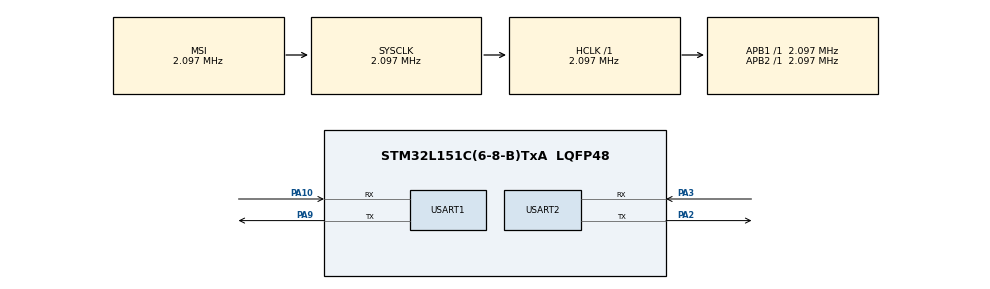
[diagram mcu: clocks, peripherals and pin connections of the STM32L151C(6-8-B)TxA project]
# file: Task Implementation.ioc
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FREERTOS.Tasks01=defaultTask,24,128,StartDefaultTask,Default,NULL,Dynamic,NULL,NULL
FREERTOS.configUSE_NEWLIB_REENTRANT=1
Mcu.Family=STM32L1
Mcu.Name=STM32L151C(6-8-B)TxA
Mcu.Package=LQFP48
NVIC.PriorityGroup=NVIC_PRIORITYGROUP_4
NVIC.TIM4_IRQn=true\:15\:0\:false\:false\:true\:false\:false\:true\:true
NVIC.TimeBase=TIM4_IRQn
NVIC.TimeBaseIP=TIM4
PA10.Mode=Asynchronous
PA10.Signal=USART1_RX
PA2.Mode=Asynchronous
PA2.Signal=USART2_TX
PA3.Mode=Asynchronous
PA3.Signal=USART2_RX
PA9.Mode=Asynchronous
PA9.Signal=USART1_TX
PB13.GPIO_Label=SNR_SCLK
PB13.Signal=SPI2_SCK
PB14.GPIO_Label=SNR_MISO
PB14.Signal=SPI2_MISO
PH0-OSC_IN.Mode=HSE-External-Oscillator
PH0-OSC_IN.Signal=RCC_OSC_IN
PH1-OSC_OUT.Mode=HSE-External-Oscillator
PH1-OSC_OUT.Signal=RCC_OSC_OUT
ProjectManager.HeapSize=0x200
ProjectManager.StackSize=0x400
ProjectManager.TargetToolchain=STM32CubeIDE
RCC.AHBFreq_Value=2097000
RCC.APB1Freq_Value=2097000
RCC.APB2Freq_Value=2097000
RCC.HSE_VALUE=24000000
RCC.HSI_VALUE=16000000
RCC.LSE_VALUE=32768
RCC.MSI_VALUE=2097000
RCC.SYSCLKFreq_VALUE=2097000
RCC.VCOOutputFreq_Value=48000000
USART1.VirtualMode=VM_ASYNC
USART2.VirtualMode=VM_ASYNC
VP_FREERTOS_VS_CMSIS_V2.Mode=CMSIS_V2
VP_SYS_VS_tim4.Mode=TIM4
board=custom

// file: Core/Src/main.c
/* USER CODE BEGIN Header */
/**
  ******************************************************************************
  * @file           : main.c
  * @brief          : Main program body
  ******************************************************************************
  * @attention
  *
  * Copyright (c) 2024 STMicroelectronics.
  * All rights reserved.
  *
  * This software is licensed under terms that can be found in the LICENSE file
  * in the root directory of this software component.
  * If no LICENSE file comes with this software, it is provided AS-IS.
  *
  ******************************************************************************
  */
/* USER CODE END Header */
#include "main.h"
#include "cmsis_os.h"

/* USER CODE BEGIN Includes */
#include "FreeRTOS.h"
#include "task.h"
/* USER CODE END Includes */

UART_HandleTypeDef huart1;
UART_HandleTypeDef huart2;

/* Definitions for defaultTask */
osThreadId_t defaultTaskHandle;
const osThreadAttr_t defaultTask_attributes = {
  .name = "defaultTask",
  .stack_size = 128 * 4,
  .priority = (osPriority_t) osPriorityNormal,
};

void SystemClock_Config(void);
static void MX_GPIO_Init(void);
static void MX_USART1_UART_Init(void);
static void MX_USART2_UART_Init(void);
void StartDefaultTask(void *argument);

/* USER CODE BEGIN PFP */
static void task1_handler (void* parameters);
static void task2_handler (void* parameters);
/* USER CODE END PFP */

/* USER CODE BEGIN 0 */
#ifdef __GNUC__
/* With GCC/RAISONANCE, small printf (option LD Linker->Libraries->Small printf
   set to 'Yes') calls __io_putchar() */
#define PUTCHAR_PROTOTYPE int __io_putchar(int ch)
#else
#define PUTCHAR_PROTOTYPE int fputc(int ch, FILE *f)
#endif /* __GNUC__ */

UART_HandleTypeDef UartHandle_1 = {0};
PUTCHAR_PROTOTYPE
{
	HAL_UART_Transmit(&huart1, (uint8_t *)&ch, 1, 0xFFFF);
}
/* USER CODE END 0 */

int main(void)
{
  /* USER CODE BEGIN 1 */
	TaskHandle_t task1_handle;
	TaskHandle_t task2_handle;
	BaseType_t status;
  /* USER CODE END 1 */

  /* MCU Configuration--------------------------------------------------------*/

  /* Reset of all peripherals, Initializes the Flash interface and the Systick. */
  HAL_Init();

  /* Configure the system clock */
  SystemClock_Config();

  /* Initialize all configured peripherals */
  MX_GPIO_Init();
  MX_USART1_UART_Init();
  MX_USART2_UART_Init();

  /* Init scheduler */
  osKernelInitialize();

  /* Create the thread(s) */
  /* creation of defaultTask */
  defaultTaskHandle = osThreadNew(StartDefaultTask, NULL, &defaultTask_attributes);

  /* USER CODE BEGIN RTOS_THREADS */
  /* add threads, ... */
  status = xTaskCreate(task1_handler, "Task-1", 200, "task1 running", 2	, &task1_handle);
  configASSERT(status == pdPASS);

  status = xTaskCreate(task2_handler, "Task-2", 200, "task2 running", 2	, &task2_handle);
  configASSERT(status == pdPASS);

  /* USER CODE END RTOS_THREADS */

  /* Start scheduler */
  vTaskStartScheduler();          //necessary to start scheduler for starting the task operations

 // osKernelStart();
  /* We should never get here as control is now taken by the scheduler */
  /* Infinite loop */
  while (1)
  {
  }
}

void SystemClock_Config(void)
{
  RCC_OscInitTypeDef RCC_OscInitStruct = {0};
  RCC_ClkInitTypeDef RCC_ClkInitStruct = {0};

  /** Configure the main internal regulator output voltage
  */
  __HAL_PWR_VOLTAGESCALING_CONFIG(PWR_REGULATOR_VOLTAGE_SCALE1);

  /** Initializes the RCC Oscillators according to the specified parameters
  * in the RCC_OscInitTypeDef structure.
  */
  RCC_OscInitStruct.OscillatorType = RCC_OSCILLATORTYPE_MSI;
  RCC_OscInitStruct.MSIState = RCC_MSI_ON;
  RCC_OscInitStruct.MSICalibrationValue = 0;
  RCC_OscInitStruct.MSIClockRange = RCC_MSIRANGE_5;
  RCC_OscInitStruct.PLL.PLLState = RCC_PLL_NONE;
  if (HAL_RCC_OscConfig(&RCC_OscInitStruct) != HAL_OK)
  {
    Error_Handler();
  }

  /** Initializes the CPU, AHB and APB buses clocks
  */
  RCC_ClkInitStruct.ClockType = RCC_CLOCKTYPE_HCLK|RCC_CLOCKTYPE_SYSCLK
                              |RCC_CLOCKTYPE_PCLK1|RCC_CLOCKTYPE_PCLK2;
  RCC_ClkInitStruct.SYSCLKSource = RCC_SYSCLKSOURCE_MSI;
  RCC_ClkInitStruct.AHBCLKDivider = RCC_SYSCLK_DIV1;
  RCC_ClkInitStruct.APB1CLKDivider = RCC_HCLK_DIV1;
  RCC_ClkInitStruct.APB2CLKDivider = RCC_HCLK_DIV1;

  if (HAL_RCC_ClockConfig(&RCC_ClkInitStruct, FLASH_LATENCY_0) != HAL_OK)
  {
    Error_Handler();
  }
}

static void MX_USART1_UART_Init(void)
{

  huart1.Instance = USART1;
  huart1.Init.BaudRate = 115200;
  huart1.Init.WordLength = UART_WORDLENGTH_8B;
  huart1.Init.StopBits = UART_STOPBITS_1;
  huart1.Init.Parity = UART_PARITY_NONE;
  huart1.Init.Mode = UART_MODE_TX_RX;
  huart1.Init.HwFlowCtl = UART_HWCONTROL_NONE;
  huart1.Init.OverSampling = UART_OVERSAMPLING_16;
  if (HAL_UART_Init(&huart1) != HAL_OK)
  {
    Error_Handler();
  }

}

static void MX_USART2_UART_Init(void)
{

  huart2.Instance = USART2;
  huart2.Init.BaudRate = 115200;
  huart2.Init.WordLength = UART_WORDLENGTH_8B;
  huart2.Init.StopBits = UART_STOPBITS_1;
  huart2.Init.Parity = UART_PARITY_NONE;
  huart2.Init.Mode = UART_MODE_TX_RX;
  huart2.Init.HwFlowCtl = UART_HWCONTROL_NONE;
  huart2.Init.OverSampling = UART_OVERSAMPLING_16;
  if (HAL_UART_Init(&huart2) != HAL_OK)
  {
    Error_Handler();
  }

}

static void MX_GPIO_Init(void)
{
  GPIO_InitTypeDef GPIO_InitStruct = {0};

  /* GPIO Ports Clock Enable */
  __HAL_RCC_GPIOH_CLK_ENABLE();
  __HAL_RCC_GPIOA_CLK_ENABLE();
  __HAL_RCC_GPIOB_CLK_ENABLE();

  /*Configure GPIO pins : SNR_SCLK_Pin SNR_MISO_Pin */
  GPIO_InitStruct.Pin = SNR_SCLK_Pin|SNR_MISO_Pin;
  GPIO_InitStruct.Mode = GPIO_MODE_AF_PP;
  GPIO_InitStruct.Pull = GPIO_NOPULL;
  GPIO_InitStruct.Speed = GPIO_SPEED_FREQ_VERY_HIGH;
  GPIO_InitStruct.Alternate = GPIO_AF5_SPI2;
  HAL_GPIO_Init(GPIOB, &GPIO_InitStruct);

}

/* USER CODE BEGIN 4 */
static void task1_handler (void* parameters)
{
	while(1)
	{
		printf("%s\r\n",(char*)parameters);
		//taskYIELD();                                   /for context switching
		 vTaskDelay(1000 / portTICK_PERIOD_MS);          //for periodic task implementation
	}
}
static void task2_handler (void* parameters)
{
	while(1)
	{
		printf("%s\r\n",(char*)parameters);
		//taskYIELD();

		 vTaskDelay(1000 / portTICK_PERIOD_MS);
	}
}

/* USER CODE END 4 */

void StartDefaultTask(void *argument)
{
  for(;;)
  {
    osDelay(1);
  }
}

void HAL_TIM_PeriodElapsedCallback(TIM_HandleTypeDef *htim)
{
  if (htim->Instance == TIM4) {
    HAL_IncTick();
  }
}

void Error_Handler(void)
{
  __disable_irq();
  while (1)
  {
  }
}
